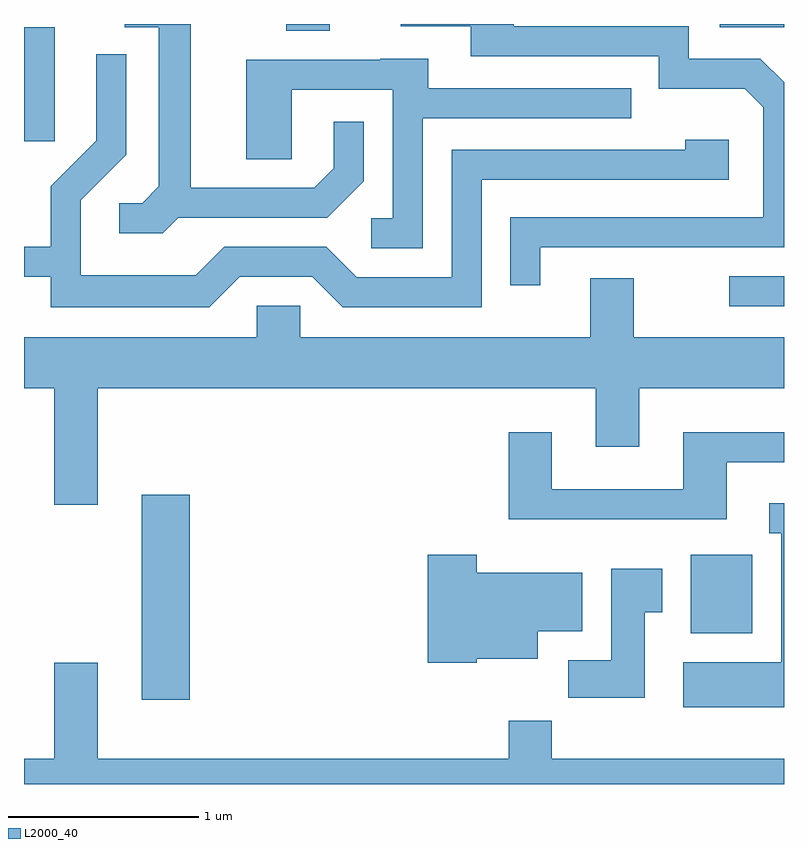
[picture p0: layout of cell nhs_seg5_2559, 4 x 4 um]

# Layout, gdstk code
import gdstk
lib = gdstk.Library(unit=1e-6, precision=1e-09)
def R(c, l, rs):  # rectangles x0, y0, x1, y1
    for r in rs: c.add(gdstk.rectangle(r[:2], r[2:], *l))
def P(c, l, *ps):  # polygons
    for p in ps: c.add(gdstk.Polygon(p, *l))
L2000_40 = (2000, 40)

nhs_seg5_2559 = lib.new_cell('nhs_seg5_2559')
R(nhs_seg5_2559, L2000_40, [(262.231,1428.516,262.484,1429.594), (265.121,1428.866,265.444,1429.279), (265.323,1430.586,265.611,1430.744), (261.611,1431.456,261.774,1432.054), (262.991,1432.036,263.219,1432.072), (265.273,1432.056,265.611,1432.072)])
P(nhs_seg5_2559, L2000_40, [(262.422,1431.051),(263.207,1431.051),(263.399,1431.244),(263.399,1431.558),(263.241,1431.558),(263.241,1431.312),(263.139,1431.209),(262.489,1431.209),(262.489,1432.072),(262.142,1432.072),(262.142,1432.056),(262.321,1432.056),(262.321,1431.217),(262.234,1431.129),(262.113,1431.129),(262.113,1430.971),(262.342,1430.971)],
  [(264.329,1430.896),(265.611,1430.896),(265.611,1431.765),(265.487,1431.889),(265.109,1431.889),(265.109,1432.059),(264.189,1432.059),(264.189,1432.072),(263.593,1432.072),(263.593,1432.061),(263.961,1432.061),(263.961,1431.901),(264.951,1431.901),(264.951,1431.731),(265.404,1431.731),(265.501,1431.634),(265.501,1431.054),(264.171,1431.054),(264.171,1430.698),(264.329,1430.698)],
  [(262.747,1430.741),(263.129,1430.741),(263.289,1430.581),(264.019,1430.581),(264.019,1431.251),(265.319,1431.251),(265.319,1431.464),(265.091,1431.464),(265.091,1431.409),(263.861,1431.409),(263.861,1430.739),(263.362,1430.739),(263.202,1430.899),(262.664,1430.899),(262.514,1430.749),(261.909,1430.749),(261.909,1431.144),(262.149,1431.384),(262.149,1431.913),(261.991,1431.913),(261.991,1431.457),(261.751,1431.217),(261.751,1430.899),(261.611,1430.899),(261.611,1430.741),(261.751,1430.741),(261.751,1430.581),(262.587,1430.581)],
  [(263.709,1431.576),(264.808,1431.576),(264.808,1431.734),(263.739,1431.734),(263.739,1431.889),(263.485,1431.889),(263.485,1431.884),(262.781,1431.884),(262.781,1431.361),(263.019,1431.361),(263.019,1431.726),(263.551,1431.726),(263.551,1431.049),(263.438,1431.049),(263.438,1430.891),(263.709,1430.891)],
  [(264.591,1430.424),(263.064,1430.424),(263.064,1430.589),(262.836,1430.589),(262.836,1430.424),(261.611,1430.424),(261.611,1430.156),(261.771,1430.156),(261.771,1429.541),(261.999,1429.541),(261.999,1430.156),(264.621,1430.156),(264.621,1429.846),(264.849,1429.846),(264.849,1430.156),(265.611,1430.156),(265.611,1430.424),(264.819,1430.424),(264.819,1430.734),(264.591,1430.734)],
  [(265.309,1429.766),(265.611,1429.766),(265.611,1429.924),(265.081,1429.924),(265.081,1429.624),(264.389,1429.624),(264.389,1429.924),(264.161,1429.924),(264.161,1429.466),(265.309,1429.466)],
  [(265.611,1429.549),(265.533,1429.549),(265.533,1429.391),(265.596,1429.391),(265.596,1428.714),(265.081,1428.714),(265.081,1428.476),(265.611,1428.476)],
  [(263.994,1428.731),(264.314,1428.731),(264.314,1428.876),(264.549,1428.876),(264.549,1429.184),(263.994,1429.184),(263.994,1429.279),(263.736,1429.279),(263.736,1428.711),(263.994,1428.711)],
  [(264.879,1428.976),(264.969,1428.976),(264.969,1429.204),(264.701,1429.204),(264.701,1428.724),(264.476,1428.724),(264.476,1428.526),(264.879,1428.526)],
  [(265.611,1428.204),(264.389,1428.204),(264.389,1428.404),(264.161,1428.404),(264.161,1428.204),(261.999,1428.204),(261.999,1428.709),(261.771,1428.709),(261.771,1428.204),(261.611,1428.204),(261.611,1428.072),(265.611,1428.072)])

lib.write_gds('nhs_seg5_2559.gds')
